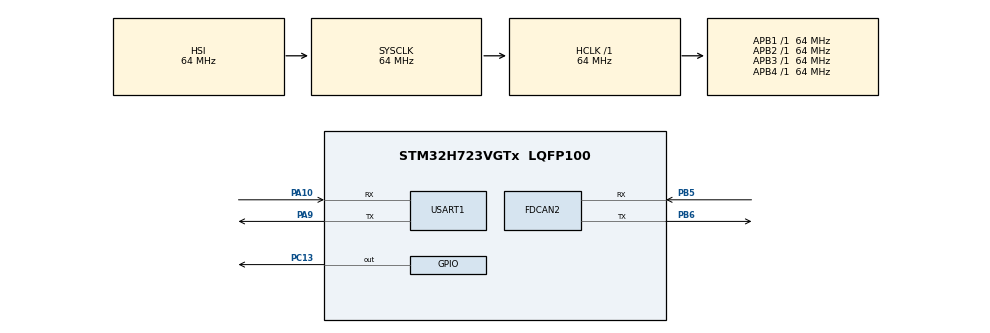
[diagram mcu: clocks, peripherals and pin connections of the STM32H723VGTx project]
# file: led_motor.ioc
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CORTEX_M7.default_mode_Activation=1
FDCAN2.AutoRetransmission=ENABLE
FDCAN2.CalculateBaudRateNominal=1000000
FDCAN2.CalculateTimeBitNominal=1000
FDCAN2.CalculateTimeQuantumNominal=100.0
FDCAN2.NominalPrescaler=4
FDCAN2.NominalTimeSeg1=6
FDCAN2.NominalTimeSeg2=3
FDCAN2.RxFifo0ElmtsNbr=8
FDCAN2.StdFiltersNbr=1
FDCAN2.TxFifoQueueElmtsNbr=8
Mcu.Family=STM32H7
Mcu.Name=STM32H723VGTx
Mcu.Package=LQFP100
NVIC.FDCAN2_IT0_IRQn=true\:0\:0\:false\:false\:true\:true\:true\:true
NVIC.PriorityGroup=NVIC_PRIORITYGROUP_4
PA10.Mode=Asynchronous
PA10.Signal=USART1_RX
PA9.Mode=Asynchronous
PA9.Signal=USART1_TX
PB5.Mode=FDCAN_Activate
PB5.Signal=FDCAN2_RX
PB6.Mode=FDCAN_Activate
PB6.Signal=FDCAN2_TX
PC13.PinState=GPIO_PIN_SET
PC13.Signal=GPIO_Output
ProjectManager.HeapSize=0x200
ProjectManager.StackSize=0x400
ProjectManager.TargetToolchain=STM32CubeIDE
RCC.ADCFreq_Value=129000000
RCC.APB1Freq_Value=64000000
RCC.APB2Freq_Value=64000000
RCC.APB3Freq_Value=64000000
RCC.APB4Freq_Value=64000000
RCC.CortexFreq_Value=64000000
RCC.DIVN1=120
RCC.DIVQ1=6
RCC.HCLKFreq_Value=64000000
RCC.SYSCLKFreq_VALUE=64000000
RCC.USBFreq_Value=40000000
USART1.VirtualMode-Asynchronous=VM_ASYNC
VP_MEMORYMAP_VS_MEMORYMAP.Mode=CurAppReg
board=custom

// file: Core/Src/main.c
/* USER CODE BEGIN Header */
/**
  ******************************************************************************
  * @file           : main.c
  * @brief          : Main program body
  ******************************************************************************
  * @attention
  *
  * Copyright (c) 2026 STMicroelectronics.
  * All rights reserved.
  *
  * This software is licensed under terms that can be found in the LICENSE file
  * in the root directory of this software component.
  * If no LICENSE file comes with this software, it is provided AS-IS.
  *
  ******************************************************************************
  */
/* USER CODE END Header */
#include "main.h"

/* USER CODE BEGIN Includes */
#include <stdio.h>

/* USER CODE END Includes */

/* USER CODE BEGIN PD */

#define GM6020_CONTROL_PERIOD_MS          5U
#define GM6020_FEEDBACK_TIMEOUT_MS        100U
#define GM6020_SPEED_TEST_START_DELAY_MS  3000U
#define GM6020_SPEED_TEST_DURATION_MS     5000U
#define GM6020_SPEED_TARGET_RPM           10
#define GM6020_SPEED_KP                   100.0f
#define GM6020_SPEED_KI                   40.0f
#define GM6020_SPEED_INTEGRAL_LIMIT       1000.0f
#define GM6020_CONTROL_OUTPUT_LIMIT       1500

/* USER CODE END PD */

FDCAN_HandleTypeDef hfdcan2;

UART_HandleTypeDef huart1;

/* USER CODE BEGIN PV */

typedef enum
{
  GM6020_CONTROL_WAITING = 0,
  GM6020_CONTROL_RUNNING,
  GM6020_CONTROL_COMPLETE,
  GM6020_CONTROL_FEEDBACK_FAULT,
  GM6020_CONTROL_TX_FAULT
} GM6020_ControlState;

/* GM6020 raw feedback values for CubeIDE Live Expressions / Watch. */
volatile uint8_t gm6020_rx_data[8] = {0};
volatile uint32_t gm6020_rx_count = 0;
volatile uint32_t gm6020_last_rx_tick = 0;
volatile uint32_t fdcan2_last_rx_id = 0;
volatile uint32_t fdcan2_rx_error_count = 0;
volatile uint32_t fdcan2_tx_error_count = 0;

static uint32_t vofa_last_tx_tick = 0;
static char vofa_tx_buffer[64];
static GM6020_ControlState gm6020_control_state = GM6020_CONTROL_WAITING;
static uint32_t gm6020_last_control_tick = 0;
static uint32_t gm6020_speed_test_start_tick = 0;
static int16_t gm6020_speed_target_rpm = 0;
static int16_t gm6020_speed_feedback_rpm = 0;
static int16_t gm6020_speed_error_rpm = 0;
static int32_t gm6020_speed_p_output = 0;
static int32_t gm6020_speed_i_output = 0;
static float gm6020_speed_integral = 0.0f;
static int16_t gm6020_control_output = 0;

/* USER CODE END PV */

void SystemClock_Config(void);
static void MPU_Config(void);
static void MX_GPIO_Init(void);
static void MX_FDCAN2_Init(void);
static void MX_USART1_UART_Init(void);
/* USER CODE BEGIN PFP */
HAL_StatusTypeDef GM6020_SendCurrent(int16_t iq1,
                                    int16_t iq2,
                                    int16_t iq3,
                                    int16_t iq4);
int16_t GM6020_LimitOutput(int32_t output);
void GM6020_ResetSpeedPI(void);
void GM6020_RunSpeedPIControl(uint32_t now);
/* USER CODE END PFP */

int main(void)
{

  /* MPU Configuration--------------------------------------------------------*/
  MPU_Config();

  /* MCU Configuration--------------------------------------------------------*/

  /* Reset of all peripherals, Initializes the Flash interface and the Systick. */
  HAL_Init();

  /* Configure the system clock */
  SystemClock_Config();

  /* Initialize all configured peripherals */
  MX_GPIO_Init();
  MX_FDCAN2_Init();
  MX_USART1_UART_Init();
  /* USER CODE BEGIN 2 */

  FDCAN_FilterTypeDef sFilter;

  sFilter.IdType = FDCAN_STANDARD_ID;
  sFilter.FilterIndex = 0;
  sFilter.FilterType = FDCAN_FILTER_MASK;
  sFilter.FilterConfig = FDCAN_FILTER_TO_RXFIFO0;

  /* 接收所有标准ID */
  sFilter.FilterID1 = 0x000;
  sFilter.FilterID2 = 0x000;

  if (HAL_FDCAN_ConfigFilter(&hfdcan2, &sFilter) != HAL_OK)
  {
      Error_Handler();
  }
  if (HAL_FDCAN_Start(&hfdcan2) != HAL_OK)
  {
      Error_Handler();
  }
  if (HAL_FDCAN_ActivateNotification(
          &hfdcan2,
          FDCAN_IT_RX_FIFO0_NEW_MESSAGE,
          0) != HAL_OK)
  {
      Error_Handler();
  }

  gm6020_last_control_tick = HAL_GetTick();
  vofa_last_tx_tick = HAL_GetTick();

  /* USER CODE END 2 */

  /* Infinite loop */
  /* USER CODE BEGIN WHILE */
  while (1)
  {
	  uint32_t now;

	  now = HAL_GetTick();

	  if ((now - gm6020_last_control_tick) >= GM6020_CONTROL_PERIOD_MS)
	  {
		  gm6020_last_control_tick += GM6020_CONTROL_PERIOD_MS;

		  if ((now - gm6020_last_control_tick) >= GM6020_CONTROL_PERIOD_MS)
		  {
			  gm6020_last_control_tick = now;
		  }

		  GM6020_RunSpeedPIControl(now);
	  }

	  if ((now - vofa_last_tx_tick) >= 50U)
	  {
		  int tx_length;

		  vofa_last_tx_tick = now;

		  tx_length = snprintf(vofa_tx_buffer,
							 sizeof(vofa_tx_buffer),
							 "speed_pi:%d,%d,%d,%ld,%ld,%d\r\n",
							 (int)gm6020_speed_target_rpm,
							 (int)gm6020_speed_feedback_rpm,
							 (int)gm6020_speed_error_rpm,
							 (long)gm6020_speed_p_output,
							 (long)gm6020_speed_i_output,
							 (int)gm6020_control_output);

		  if ((tx_length > 0) &&
			  ((size_t)tx_length < sizeof(vofa_tx_buffer)))
		  {
			  (void)HAL_UART_Transmit(&huart1,
							 (uint8_t *)vofa_tx_buffer,
							 (uint16_t)tx_length,
							 20U);
		  }
	  }
    /* USER CODE END WHILE */

  }
}

void SystemClock_Config(void)
{
  RCC_OscInitTypeDef RCC_OscInitStruct = {0};
  RCC_ClkInitTypeDef RCC_ClkInitStruct = {0};

  /** Supply configuration update enable
  */
  HAL_PWREx_ConfigSupply(PWR_LDO_SUPPLY);

  /** Configure the main internal regulator output voltage
  */
  __HAL_PWR_VOLTAGESCALING_CONFIG(PWR_REGULATOR_VOLTAGE_SCALE3);

  while(!__HAL_PWR_GET_FLAG(PWR_FLAG_VOSRDY)) {}

  /** Initializes the RCC Oscillators according to the specified parameters
  * in the RCC_OscInitTypeDef structure.
  */
  RCC_OscInitStruct.OscillatorType = RCC_OSCILLATORTYPE_HSI;
  RCC_OscInitStruct.HSIState = RCC_HSI_DIV1;
  RCC_OscInitStruct.HSICalibrationValue = 64;
  RCC_OscInitStruct.PLL.PLLState = RCC_PLL_ON;
  RCC_OscInitStruct.PLL.PLLSource = RCC_PLLSOURCE_HSI;
  RCC_OscInitStruct.PLL.PLLM = 32;
  RCC_OscInitStruct.PLL.PLLN = 120;
  RCC_OscInitStruct.PLL.PLLP = 2;
  RCC_OscInitStruct.PLL.PLLQ = 6;
  RCC_OscInitStruct.PLL.PLLR = 2;
  RCC_OscInitStruct.PLL.PLLRGE = RCC_PLL1VCIRANGE_1;
  RCC_OscInitStruct.PLL.PLLVCOSEL = RCC_PLL1VCOWIDE;
  RCC_OscInitStruct.PLL.PLLFRACN = 0;
  if (HAL_RCC_OscConfig(&RCC_OscInitStruct) != HAL_OK)
  {
    Error_Handler();
  }

  /** Initializes the CPU, AHB and APB buses clocks
  */
  RCC_ClkInitStruct.ClockType = RCC_CLOCKTYPE_HCLK|RCC_CLOCKTYPE_SYSCLK
                              |RCC_CLOCKTYPE_PCLK1|RCC_CLOCKTYPE_PCLK2
                              |RCC_CLOCKTYPE_D3PCLK1|RCC_CLOCKTYPE_D1PCLK1;
  RCC_ClkInitStruct.SYSCLKSource = RCC_SYSCLKSOURCE_HSI;
  RCC_ClkInitStruct.SYSCLKDivider = RCC_SYSCLK_DIV1;
  RCC_ClkInitStruct.AHBCLKDivider = RCC_HCLK_DIV1;
  RCC_ClkInitStruct.APB3CLKDivider = RCC_APB3_DIV1;
  RCC_ClkInitStruct.APB1CLKDivider = RCC_APB1_DIV1;
  RCC_ClkInitStruct.APB2CLKDivider = RCC_APB2_DIV1;
  RCC_ClkInitStruct.APB4CLKDivider = RCC_APB4_DIV1;

  if (HAL_RCC_ClockConfig(&RCC_ClkInitStruct, FLASH_LATENCY_1) != HAL_OK)
  {
    Error_Handler();
  }
}

static void MX_FDCAN2_Init(void)
{

  hfdcan2.Instance = FDCAN2;
  hfdcan2.Init.FrameFormat = FDCAN_FRAME_CLASSIC;
  hfdcan2.Init.Mode = FDCAN_MODE_NORMAL;
  hfdcan2.Init.AutoRetransmission = ENABLE;
  hfdcan2.Init.TransmitPause = DISABLE;
  hfdcan2.Init.ProtocolException = DISABLE;
  hfdcan2.Init.NominalPrescaler = 4;
  hfdcan2.Init.NominalSyncJumpWidth = 1;
  hfdcan2.Init.NominalTimeSeg1 = 6;
  hfdcan2.Init.NominalTimeSeg2 = 3;
  hfdcan2.Init.DataPrescaler = 1;
  hfdcan2.Init.DataSyncJumpWidth = 1;
  hfdcan2.Init.DataTimeSeg1 = 1;
  hfdcan2.Init.DataTimeSeg2 = 1;
  hfdcan2.Init.MessageRAMOffset = 0;
  hfdcan2.Init.StdFiltersNbr = 1;
  hfdcan2.Init.ExtFiltersNbr = 0;
  hfdcan2.Init.RxFifo0ElmtsNbr = 8;
  hfdcan2.Init.RxFifo0ElmtSize = FDCAN_DATA_BYTES_8;
  hfdcan2.Init.RxFifo1ElmtsNbr = 0;
  hfdcan2.Init.RxFifo1ElmtSize = FDCAN_DATA_BYTES_8;
  hfdcan2.Init.RxBuffersNbr = 0;
  hfdcan2.Init.RxBufferSize = FDCAN_DATA_BYTES_8;
  hfdcan2.Init.TxEventsNbr = 0;
  hfdcan2.Init.TxBuffersNbr = 0;
  hfdcan2.Init.TxFifoQueueElmtsNbr = 8;
  hfdcan2.Init.TxFifoQueueMode = FDCAN_TX_FIFO_OPERATION;
  hfdcan2.Init.TxElmtSize = FDCAN_DATA_BYTES_8;
  if (HAL_FDCAN_Init(&hfdcan2) != HAL_OK)
  {
    Error_Handler();
  }

}

static void MX_USART1_UART_Init(void)
{

  huart1.Instance = USART1;
  huart1.Init.BaudRate = 115200;
  huart1.Init.WordLength = UART_WORDLENGTH_8B;
  huart1.Init.StopBits = UART_STOPBITS_1;
  huart1.Init.Parity = UART_PARITY_NONE;
  huart1.Init.Mode = UART_MODE_TX_RX;
  huart1.Init.HwFlowCtl = UART_HWCONTROL_NONE;
  huart1.Init.OverSampling = UART_OVERSAMPLING_16;
  huart1.Init.OneBitSampling = UART_ONE_BIT_SAMPLE_DISABLE;
  huart1.Init.ClockPrescaler = UART_PRESCALER_DIV1;
  huart1.AdvancedInit.AdvFeatureInit = UART_ADVFEATURE_NO_INIT;
  if (HAL_UART_Init(&huart1) != HAL_OK)
  {
    Error_Handler();
  }
  if (HAL_UARTEx_SetTxFifoThreshold(&huart1, UART_TXFIFO_THRESHOLD_1_8) != HAL_OK)
  {
    Error_Handler();
  }
  if (HAL_UARTEx_SetRxFifoThreshold(&huart1, UART_RXFIFO_THRESHOLD_1_8) != HAL_OK)
  {
    Error_Handler();
  }
  if (HAL_UARTEx_DisableFifoMode(&huart1) != HAL_OK)
  {
    Error_Handler();
  }

}

static void MX_GPIO_Init(void)
{
  GPIO_InitTypeDef GPIO_InitStruct = {0};

  /* GPIO Ports Clock Enable */
  __HAL_RCC_GPIOC_CLK_ENABLE();
  __HAL_RCC_GPIOA_CLK_ENABLE();
  __HAL_RCC_GPIOB_CLK_ENABLE();

  /*Configure GPIO pin Output Level */
  HAL_GPIO_WritePin(GPIOC, GPIO_PIN_13, GPIO_PIN_SET);

  /*Configure GPIO pin : PC13 */
  GPIO_InitStruct.Pin = GPIO_PIN_13;
  GPIO_InitStruct.Mode = GPIO_MODE_OUTPUT_PP;
  GPIO_InitStruct.Pull = GPIO_NOPULL;
  GPIO_InitStruct.Speed = GPIO_SPEED_FREQ_LOW;
  HAL_GPIO_Init(GPIOC, &GPIO_InitStruct);

}

/* USER CODE BEGIN 4 */
void HAL_FDCAN_RxFifo0Callback(FDCAN_HandleTypeDef *hfdcan,
                               uint32_t RxFifo0ITs)
{
    FDCAN_RxHeaderTypeDef rx_header;
    uint8_t rx_data[8];
    uint32_t i;

    if ((hfdcan->Instance != FDCAN2) ||
        ((RxFifo0ITs & FDCAN_IT_RX_FIFO0_NEW_MESSAGE) == 0U))
    {
        return;
    }

    if (HAL_FDCAN_GetRxMessage(hfdcan,
                               FDCAN_RX_FIFO0,
                               &rx_header,
                               rx_data) != HAL_OK)
    {
        fdcan2_rx_error_count++;
        return;
    }

    fdcan2_last_rx_id = rx_header.Identifier;

    if ((rx_header.IdType == FDCAN_STANDARD_ID) &&
        (rx_header.Identifier == 0x205U))
    {
        for (i = 0; i < 8U; i++)
        {
            gm6020_rx_data[i] = rx_data[i];
        }

        gm6020_rx_count++;
        gm6020_last_rx_tick = HAL_GetTick();
    }
}

void GM6020_ResetSpeedPI(void)
{
    gm6020_speed_integral = 0.0f;
    gm6020_speed_i_output = 0;
}

void GM6020_RunSpeedPIControl(uint32_t now)
{
    uint8_t feedback[8];
    uint32_t feedback_count;
    uint32_t feedback_tick;
    uint8_t feedback_fresh;
    float integral_candidate;
    float unsaturated_output;
    uint32_t i;

    __disable_irq();
    for (i = 0; i < 8U; i++)
    {
        feedback[i] = gm6020_rx_data[i];
    }
    feedback_count = gm6020_rx_count;
    feedback_tick = gm6020_last_rx_tick;
    __enable_irq();

    gm6020_speed_feedback_rpm =
        (int16_t)(((uint16_t)feedback[2] << 8) | feedback[3]);
    feedback_fresh = ((feedback_count > 0U) &&
                      ((now - feedback_tick) <= GM6020_FEEDBACK_TIMEOUT_MS)) ? 1U : 0U;

    gm6020_speed_target_rpm = 0;
    gm6020_speed_error_rpm =
        gm6020_speed_target_rpm - gm6020_speed_feedback_rpm;
    gm6020_speed_p_output = 0;
    gm6020_control_output = 0;

    switch (gm6020_control_state)
    {
        case GM6020_CONTROL_WAITING:
            GM6020_ResetSpeedPI();

            if ((now >= GM6020_SPEED_TEST_START_DELAY_MS) &&
                (feedback_fresh != 0U))
            {
                gm6020_control_state = GM6020_CONTROL_RUNNING;
                gm6020_speed_test_start_tick = now;
            }
            break;

        case GM6020_CONTROL_RUNNING:
            if (feedback_fresh == 0U)
            {
                gm6020_control_state = GM6020_CONTROL_FEEDBACK_FAULT;
                GM6020_ResetSpeedPI();
            }
            else if ((now - gm6020_speed_test_start_tick) >=
                     GM6020_SPEED_TEST_DURATION_MS)
            {
                gm6020_control_state = GM6020_CONTROL_COMPLETE;
                GM6020_ResetSpeedPI();
            }
            else
            {
                gm6020_speed_target_rpm = GM6020_SPEED_TARGET_RPM;
                gm6020_speed_error_rpm =
                    gm6020_speed_target_rpm - gm6020_speed_feedback_rpm;
                gm6020_speed_p_output =
                    (int32_t)(GM6020_SPEED_KP *
                              (float)gm6020_speed_error_rpm);

                integral_candidate =
                    gm6020_speed_integral +
                    (GM6020_SPEED_KI *
                     (float)gm6020_speed_error_rpm *
                     ((float)GM6020_CONTROL_PERIOD_MS / 1000.0f));

                if (integral_candidate > GM6020_SPEED_INTEGRAL_LIMIT)
                {
                    integral_candidate = GM6020_SPEED_INTEGRAL_LIMIT;
                }
                else if (integral_candidate < -GM6020_SPEED_INTEGRAL_LIMIT)
                {
                    integral_candidate = -GM6020_SPEED_INTEGRAL_LIMIT;
                }

                unsaturated_output =
                    (float)gm6020_speed_p_output + integral_candidate;

                /* Conditional integration: do not integrate farther into
                   final-output saturation, but allow integration to unwind. */
                if (!(((unsaturated_output >
                        (float)GM6020_CONTROL_OUTPUT_LIMIT) &&
                       (gm6020_speed_error_rpm > 0)) ||
                      ((unsaturated_output <
                        -(float)GM6020_CONTROL_OUTPUT_LIMIT) &&
                       (gm6020_speed_error_rpm < 0))))
                {
                    gm6020_speed_integral = integral_candidate;
                }

                gm6020_speed_i_output =
                    (int32_t)gm6020_speed_integral;
                gm6020_control_output = GM6020_LimitOutput(
                    gm6020_speed_p_output + gm6020_speed_i_output);
            }
            break;

        case GM6020_CONTROL_COMPLETE:
        case GM6020_CONTROL_FEEDBACK_FAULT:
        case GM6020_CONTROL_TX_FAULT:
        default:
            GM6020_ResetSpeedPI();
            break;
    }

    if (GM6020_SendCurrent(gm6020_control_output, 0, 0, 0) != HAL_OK)
    {
        gm6020_control_output = 0;
        GM6020_ResetSpeedPI();

        if (gm6020_control_state == GM6020_CONTROL_RUNNING)
        {
            gm6020_control_state = GM6020_CONTROL_TX_FAULT;
        }
    }
}

int16_t GM6020_LimitOutput(int32_t output)
{
    if (output > GM6020_CONTROL_OUTPUT_LIMIT)
    {
        output = GM6020_CONTROL_OUTPUT_LIMIT;
    }
    else if (output < -GM6020_CONTROL_OUTPUT_LIMIT)
    {
        output = -GM6020_CONTROL_OUTPUT_LIMIT;
    }

    return (int16_t)output;
}

HAL_StatusTypeDef GM6020_SendCurrent(int16_t iq1,
                                    int16_t iq2,
                                    int16_t iq3,
                                    int16_t iq4)
{
    FDCAN_TxHeaderTypeDef TxHeader;
    uint8_t TxData[8];
    HAL_StatusTypeDef status;

    TxHeader.Identifier = 0x1FF;
    TxHeader.IdType = FDCAN_STANDARD_ID;
    TxHeader.TxFrameType = FDCAN_DATA_FRAME;
    TxHeader.DataLength = FDCAN_DLC_BYTES_8;
    TxHeader.ErrorStateIndicator = FDCAN_ESI_ACTIVE;
    TxHeader.BitRateSwitch = FDCAN_BRS_OFF;
    TxHeader.FDFormat = FDCAN_CLASSIC_CAN;
    TxHeader.TxEventFifoControl = FDCAN_NO_TX_EVENTS;
    TxHeader.MessageMarker = 0;

    TxData[0] = iq1 >> 8;
    TxData[1] = iq1;

    TxData[2] = iq2 >> 8;
    TxData[3] = iq2;

    TxData[4] = iq3 >> 8;
    TxData[5] = iq3;

    TxData[6] = iq4 >> 8;
    TxData[7] = iq4;

    status = HAL_FDCAN_AddMessageToTxFifoQ(&hfdcan2,
                                          &TxHeader,
                                          TxData);
    if (status != HAL_OK)
    {
        fdcan2_tx_error_count++;
    }

    return status;
}
/* USER CODE END 4 */

 /* MPU Configuration */

void MPU_Config(void)
{
  MPU_Region_InitTypeDef MPU_InitStruct = {0};

  /* Disables the MPU */
  HAL_MPU_Disable();

  /** Initializes and configures the Region and the memory to be protected
  */
  MPU_InitStruct.Enable = MPU_REGION_ENABLE;
  MPU_InitStruct.Number = MPU_REGION_NUMBER0;
  MPU_InitStruct.BaseAddress = 0x0;
  MPU_InitStruct.Size = MPU_REGION_SIZE_4GB;
  MPU_InitStruct.SubRegionDisable = 0x87;
  MPU_InitStruct.TypeExtField = MPU_TEX_LEVEL0;
  MPU_InitStruct.AccessPermission = MPU_REGION_NO_ACCESS;
  MPU_InitStruct.DisableExec = MPU_INSTRUCTION_ACCESS_DISABLE;
  MPU_InitStruct.IsShareable = MPU_ACCESS_SHAREABLE;
  MPU_InitStruct.IsCacheable = MPU_ACCESS_NOT_CACHEABLE;
  MPU_InitStruct.IsBufferable = MPU_ACCESS_NOT_BUFFERABLE;

  HAL_MPU_ConfigRegion(&MPU_InitStruct);
  /* Enables the MPU */
  HAL_MPU_Enable(MPU_PRIVILEGED_DEFAULT);

}

void Error_Handler(void)
{
  __disable_irq();
  while (1)
  {
  }
}
